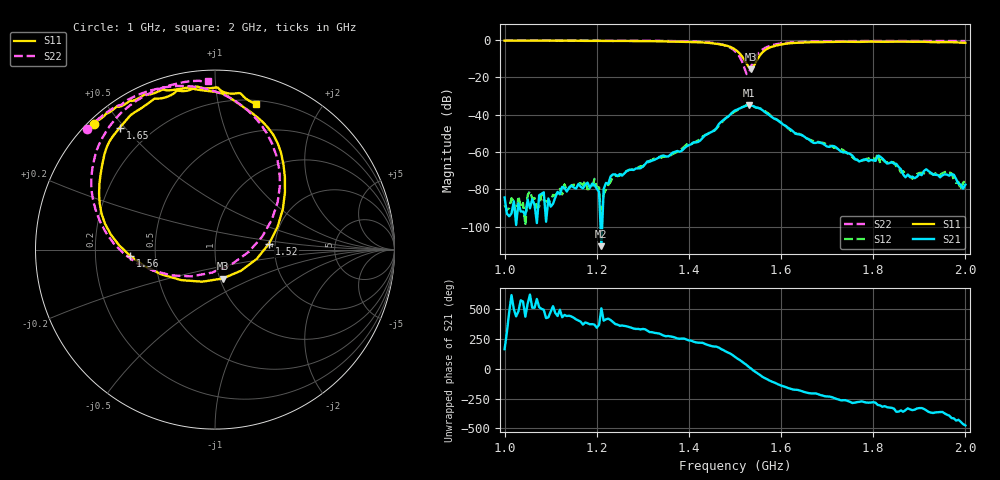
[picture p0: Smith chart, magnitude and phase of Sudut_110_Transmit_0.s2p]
# Hz S RI R 50
! CMT, C1220, 16058040, 17.2.0/1
! Date: 15/08/2018 09:01:56
! Data: Format (Calibration Info)
! Freq  S11: Re/Im (F2)  S21: Re/Im (F2)  S12: Re/Im (F2)  S22: Re/Im (F2)
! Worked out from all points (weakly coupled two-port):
!   201 points, 1 GHz to 2 GHz, reference 50 ohm
!   highest |S21| = -35.01 dB at 1.53 GHz (marker M1); lowest = -110.5 dB at 1.21 GHz (marker M2)
!   lowest |S11| = -15.6 dB at 1.535 GHz (marker M3), VSWR 1.40, Z = 51.5 - j17.1 ohm
!   |S11| at or under -10 dB: 1.519 GHz to 1.549 GHz (30.4 MHz wide, 1.98 % of centre)
!   |S22| runs from -18.2 to -0.2 dB; largest |S21 - S12| = 0.00081
!   S11 on the Smith chart (normalised r, x): 1 GHz: 0.02, +0.43; 1.52 GHz: 1.85, +0.13; 1.56 GHz: 0.36, -0.03; 1.65 GHz: 0.09, +0.49; 2 GHz: 0.23, +1.29
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1e9  -0.6718 0.6977  -5.76e-05 1.83e-05  -3.3e-05 1.92e-05  -0.7111 0.6713
1.17e9  -0.5045 0.8081  0.000105 1.49e-05  0.000128 3.21e-05  -0.5595 0.7931
1.195e9  -0.4702 0.8327  0.000132 1.76e-05  0.000189 2.62e-05  -0.5277 0.8058
1.21e9  -0.4683 0.8283  -2.42e-06 1.76e-06  8.01e-06 1.24e-05  -0.5185 0.8078
1.235e9  -0.4183 0.8471  0.000218 0.000127  0.000184 0.00012  -0.4914 0.8317
1.335e9  -0.2674 0.8871  0.000288 -0.000651  0.000247 -0.000697  -0.3271 0.8951
1.45e9  0.1318 0.8126  -0.00348 -0.000457  -0.00363 -0.000168  0.088 0.8428
1.5e9  0.3894 0.4058  -0.00196 0.0129  -0.00177 0.0121  0.3616 0.3557
1.52e9  0.3006 0.0326  0.0114 0.012  0.0114 0.0123  0.1862 -0.0141
1.53e9  0.1454 -0.1177  0.0172 0.00439  0.0174 0.00441  -0.0171 -0.1282
1.535e9  0.0422 -0.1613  0.0174 -5.2e-05  0.0175 -0.000166  -0.1309 -0.1492
1.56e9  -0.4729 -0.0346  0.00461 -0.0123  0.00521 -0.0127  -0.5638 0.0337
1.65e9  -0.5301 0.6801  -0.00252 0.000668  -0.00244 0.000664  -0.5944 0.6772
1.67e9  -0.4742 0.7443  -0.00156 0.000813  -0.00173 0.000878  -0.5522 0.7304
1.765e9  -0.2608 0.8535  0.000102 0.000604  9.31e-05 0.000604  -0.3823 0.8618
1.81e9  -0.1922 0.8837  0.000434 0.000652  0.000516 0.000796  -0.3102 0.8945
1.835e9  -0.124 0.8958  0.000415 0.000285  0.000394 0.000257  -0.2749 0.9073
1.87e9  -0.0774 0.9021  0.000204 4.81e-05  0.000255 3.01e-06  -0.2222 0.9221
1.915e9  0.0206 0.8975  0.000337 7.2e-05  0.000259 5.21e-05  -0.1554 0.9355
1.96e9  0.1324 0.872  0.000224 -0.000104  0.000267 -0.000157  -0.0865 0.9401
1.99e9  0.1866 0.8314  1.21e-05 -0.000132  1.9e-05 -9.48e-05  -0.0525 0.9382
2e9  0.2264 0.8131  -5.65e-05 -0.000121  -0.000111 -0.000126  -0.0398 0.9417
